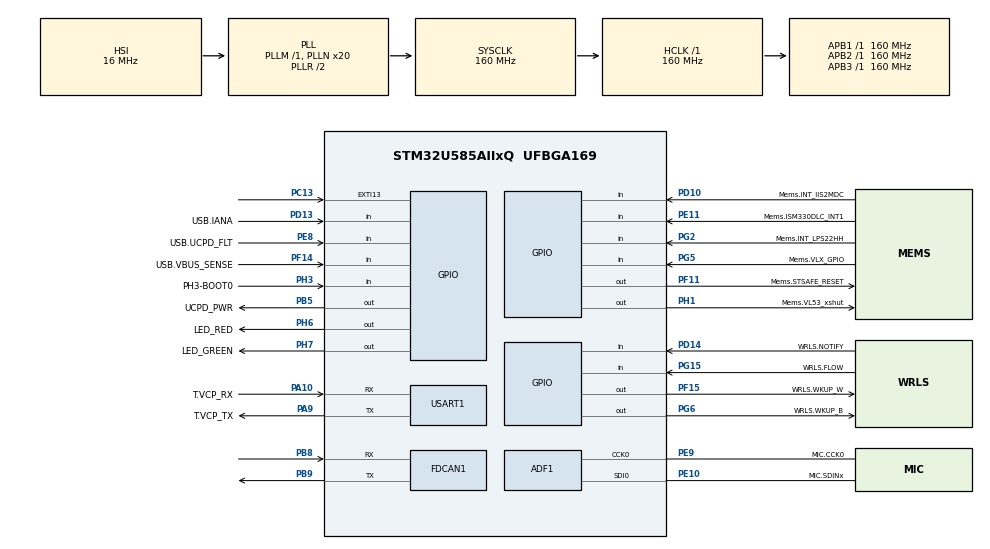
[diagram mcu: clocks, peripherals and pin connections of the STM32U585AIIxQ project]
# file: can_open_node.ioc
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CORTEX_M33_NS.userName=CORTEX_M33
FDCAN1.CalculateBaudRateNominal=1000000
FDCAN1.CalculateTimeBitNominal=1000
FDCAN1.CalculateTimeQuantumNominal=50.0
FDCAN1.DataPrescaler=4
FDCAN1.DataTimeSeg1=15
FDCAN1.DataTimeSeg2=4
FDCAN1.Mode=FDCAN_MODE_NORMAL
FDCAN1.NominalPrescaler=8
FDCAN1.NominalSyncJumpWidth=1
FDCAN1.NominalTimeSeg1=15
FDCAN1.NominalTimeSeg2=4
Mcu.Family=STM32U5
Mcu.Name=STM32U585AIIxQ
Mcu.Package=UFBGA169
NVIC.EXTI13_IRQn=true\:0\:0\:false\:false\:true\:true\:true\:true
NVIC.FDCAN1_IT0_IRQn=true\:0\:0\:false\:false\:true\:true\:true\:true
NVIC.FDCAN1_IT1_IRQn=true\:0\:0\:false\:false\:true\:true\:true\:true
NVIC.PriorityGroup=NVIC_PRIORITYGROUP_4
NVIC.TIM2_IRQn=true\:0\:0\:false\:false\:true\:true\:true\:true
PA10.GPIO_Label=T.VCP_RX
PA10.Mode=Asynchronous
PA10.Signal=USART1_RX
PA11.GPIO_Label=USB.C_P
PA11.Signal=USB_OTG_FS_DM
PA12.GPIO_Label=USB.C_P
PA12.Signal=USB_OTG_FS_DP
PA13\ (JTMS/SWDIO).GPIO_Label=T.SWDIO
PA13\ (JTMS/SWDIO).Mode=Trace_Asynchronous_SW
PA13\ (JTMS/SWDIO).Signal=DEBUG_JTMS-SWDIO
PA14\ (JTCK/SWCLK).GPIO_Label=T.SWCLK
PA14\ (JTCK/SWCLK).Mode=Trace_Asynchronous_SW
PA14\ (JTCK/SWCLK).Signal=DEBUG_JTCK-SWCLK
PA15\ (JTDI).GPIO_Label=USB.UCPD_CC1
PA15\ (JTDI).Signal=UCPD1_CC1
PA9.GPIO_Label=T.VCP_TX
PA9.Mode=Asynchronous
PA9.Signal=USART1_TX
PB1.GPIO_Label=MIC.SDIN0
PB1.Signal=MDF1_SDI0
PB10.GPIO_Label=OCTOSPI.R_CLK_P
PB10.Signal=OCTOSPIM_P1_CLK
PB11.GPIO_Label=OCTOSPI.R_NCS
PB11.Signal=OCTOSPIM_P1_NCS
PB12.GPIO_Label=WRLS.SPI2_NSS
PB12.Signal=SPI2_NSS
PB15.GPIO_Label=USB.UCPD_CC2
PB15.Signal=UCPD1_CC2
PB3\ (JTDO/TRACESWO).GPIO_Label=T.SWO
PB3\ (JTDO/TRACESWO).Mode=Trace_Asynchronous_SW
PB3\ (JTDO/TRACESWO).Signal=DEBUG_JTDO-SWO
PB5.GPIO_Label=UCPD_PWR
PB5.Signal=GPIO_Output
PB8.Mode=FDCAN_Activate
PB8.Signal=FDCAN1_RX
PB9.Mode=FDCAN_Activate
PB9.Signal=FDCAN1_TX
PC10.GPIO_Label=WRLS.UART4_TX
PC10.Signal=UART4_TX
PC11.GPIO_Label=WRLS.UART4_RX
PC11.Signal=UART4_RX
PC13.GPIO_ModeDefaultEXTI=GPIO_MODE_IT_FALLING
PC13.Signal=GPXTI13
PC14-OSC32_IN\ (PC14).GPIO_Label=PC14-OSC32_IN
PC14-OSC32_IN\ (PC14).Mode=LSE-External-Oscillator
PC14-OSC32_IN\ (PC14).Signal=RCC_OSC32_IN
PC15-OSC32_OUT\ (PC15).GPIO_Label=PC15-OSC32_OUT
PC15-OSC32_OUT\ (PC15).Mode=LSE-External-Oscillator
PC15-OSC32_OUT\ (PC15).Signal=RCC_OSC32_OUT
PC3.GPIO_Label=OCTOSPI.R_IO6
PC3.Signal=OCTOSPIM_P1_IO6
PD1.GPIO_Label=WRLS.SPI2_SCK
PD1.Signal=SPI2_SCK
PD10.GPIO_Label=Mems.INT_IIS2MDC
PD10.Signal=GPIO_Input
PD13.GPIO_Label=USB.IANA
PD13.Signal=GPIO_Input
PD14.GPIO_Label=WRLS.NOTIFY
PD14.Signal=GPIO_Input
PD3.GPIO_Label=WRLS.SPI2_MISO
PD3.Signal=SPI2_MISO
PD4.GPIO_Label=WRLS.SPI2_MOSI
PD4.Signal=SPI2_MOSI
PD7.GPIO_Label=OCTOSPI.R_IO7
PD7.Signal=OCTOSPIM_P1_IO7
PE10.GPIO_Label=MIC.SDINx
PE10.Mode=MOD_ADF_CCK
PE10.Signal=ADF1_SDI0
PE11.GPIO_Label=Mems.ISM330DLC_INT1
PE11.Signal=GPIO_Input
PE3.GPIO_Label=OCTOSPI.R_DQS
PE3.Signal=OCTOSPIM_P1_DQS
PE8.GPIO_Label=USB.UCPD_FLT
PE8.Signal=GPIO_Input
PE9.GPIO_Label=MIC.CCK0
PE9.Mode=MOD_MDF_CCK0
PE9.Signal=ADF1_CCK0
PF0.GPIO_Label=OCTOSPI.F_IO0
PF0.Signal=OCTOSPIM_P2_IO0
PF1.GPIO_Label=OCTOSPI.F_IO1
PF1.Signal=OCTOSPIM_P2_IO1
PF10.GPIO_Label=MIC.CCK1
PF10.Signal=MDF1_CCK1
PF11.GPIO_Label=Mems.STSAFE_RESET
PF11.Signal=GPIO_Output
PF12.GPIO_Label=OCTOSPI.F_DQS
PF12.Signal=OCTOSPIM_P2_DQS
PF14.GPIO_Label=USB.VBUS_SENSE
PF14.Signal=GPIO_Input
PF15.GPIO_Label=WRLS.WKUP_W
PF15.Signal=GPIO_Output
PF2.GPIO_Label=OCTOSPI.F_IO2
PF2.Signal=OCTOSPIM_P2_IO2
PF3.GPIO_Label=OCTOSPI.F_IO3
PF3.Signal=OCTOSPIM_P2_IO3
PF4.GPIO_Label=OCTOSPI.F_CLK_P
PF4.Signal=OCTOSPIM_P2_CLK
PF6.GPIO_Label=OCTOSPI.R_IO3
PF6.Signal=OCTOSPIM_P1_IO3
PF7.GPIO_Label=OCTOSPI.R_IO2
PF7.Signal=OCTOSPIM_P1_IO2
PF8.GPIO_Label=OCTOSPI.R_IO0
PF8.Signal=OCTOSPIM_P1_IO0
PF9.GPIO_Label=OCTOSPI.R_IO1
PF9.Signal=OCTOSPIM_P1_IO1
PG15.GPIO_Label=WRLS.FLOW
PG15.Signal=GPIO_Input
PG2.GPIO_Label=Mems.INT_LPS22HH
PG2.Signal=GPIO_Input
PG5.GPIO_Label=Mems.VLX_GPIO
PG5.Signal=GPIO_Input
PG6.GPIO_Label=WRLS.WKUP_B
PG6.Signal=GPIO_Output
PH1-OSC_OUT\ (PH1).GPIO_Label=Mems.VL53_xshut
PH1-OSC_OUT\ (PH1).Signal=GPIO_Output
PH10.GPIO_Label=OCTOSPI.F_IO5
PH10.Signal=OCTOSPIM_P2_IO5
PH11.GPIO_Label=OCTOSPI.F_IO6
PH11.Signal=OCTOSPIM_P2_IO6
PH12.GPIO_Label=OCTOSPI.F_IO7
PH12.Signal=OCTOSPIM_P2_IO7
PH2.GPIO_Label=OCTOSPI.R_IO4
PH2.Signal=OCTOSPIM_P1_IO4
PH3-BOOT0.GPIO_Label=PH3-BOOT0
PH3-BOOT0.Signal=GPIO_Input
PH4.Signal=I2C2_SCL
PH5.Signal=I2C2_SDA
PH6.GPIO_Label=LED_RED
PH6.Signal=GPIO_Output
PH7.GPIO_Label=LED_GREEN
PH7.Signal=GPIO_Output
PH9.GPIO_Label=OCTOSPI.F_IO4
PH9.Signal=OCTOSPIM_P2_IO4
PI0.GPIO_Label=OCTOSPI.R_IO5
PI0.Signal=OCTOSPIM_P1_IO5
PI5.GPIO_Label=OCTOSPI.F_NCS
PI5.Signal=OCTOSPIM_P2_NCS
PWR.PowerMode=PWR_SMPS_SUPPLY
ProjectManager.HeapSize=0x200
ProjectManager.StackSize=0x400
ProjectManager.TargetToolchain=STM32CubeIDE
RCC.ADCFreq_Value=16000000
RCC.AHBFreq_Value=160000000
RCC.APB1Freq_Value=160000000
RCC.APB1TimFreq_Value=160000000
RCC.APB2Freq_Value=160000000
RCC.APB2TimFreq_Value=160000000
RCC.APB3Freq_Value=160000000
RCC.CortexFreq_Value=160000000
RCC.DACCLockSelectionVirtual=RCC_DAC1CLKSOURCE_LSI
RCC.EPOD_VALUE=4000000
RCC.HCLKFreq_Value=160000000
RCC.HSE_VALUE=16000000
RCC.HSI48_VALUE=48000000
RCC.HSI_VALUE=16000000
RCC.LSIDIV_VALUE=32000
RCC.MSI_VALUE=4000000
RCC.PLLN=80
RCC.SYSCLKFreq_VALUE=160000000
RCC.SYSCLKSource=RCC_SYSCLKSOURCE_PLLCLK
RCC.USBFreq_Value=48000000
RCC.VCOOutputFreq_Value=320000000
TIM2.PeriodNoDither=9
TIM2.Prescaler=15999
USART1.VirtualMode-Asynchronous=VM_ASYNC
VP_ICACHE_VS_ICACHE.Mode=DirectMappedCache
VP_LPBAMQUEUE_VS_QUEUE.Mode=QUEUEMODE
VP_LPBAM_VS_SIG1.Mode=SmartRun
VP_LPBAM_VS_SIG4.Mode=LPDMA1
VP_MEMORYMAP_VS_MEMORYMAP.Mode=CurAppReg
VP_PWR_VS_DBSignals.Mode=DisableDeadBatterySignals
VP_PWR_VS_LPOM.Mode=PowerOptimisation
VP_PWR_VS_SECSignals.Mode=Security/Privilege
VP_TIM2_VS_ClockSourceINT.Mode=Internal
board=B-U585I-IOT02A

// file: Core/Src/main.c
/* USER CODE BEGIN Header */
/**
  ******************************************************************************
  * @file           : main.c
  * @brief          : Main program body
  ******************************************************************************
  * @attention
  *
  * Copyright (c) 2026 STMicroelectronics.
  * All rights reserved.
  *
  * This software is licensed under terms that can be found in the LICENSE file
  * in the root directory of this software component.
  * If no LICENSE file comes with this software, it is provided AS-IS.
  *
  ******************************************************************************
  */
/* USER CODE END Header */
#include "main.h"

/* USER CODE BEGIN Includes */
#include <stdio.h>
#include "301/CO_ODinterface.h"
#include "301/CO_SDOclient.h"
#include "OD.h"
#include "CO_app_STM32.h"
#include "CANopen.h"
/* USER CODE END Includes */

/* USER CODE BEGIN PD */

#define CAN_BUFFER_LEN          (8)
#define CONTROLLER_NODE_ID 0x01
/* USER CODE END PD */

MDF_HandleTypeDef AdfHandle0;
MDF_FilterConfigTypeDef AdfFilterConfig0;

FDCAN_HandleTypeDef hfdcan1;

TIM_HandleTypeDef htim2;

UART_HandleTypeDef huart1;

/* USER CODE BEGIN PV */

extern CO_t *CO;

static FDCAN_FilterTypeDef   sFilterConfig;

uint8_t gSdoData[CAN_BUFFER_LEN];

/* USER CODE END PV */

void SystemClock_Config(void);
static void SystemPower_Config(void);
static void MX_GPIO_Init(void);
static void MX_ADF1_Init(void);
static void MX_FDCAN1_Init(void);
static void MX_ICACHE_Init(void);
static void MX_USART1_UART_Init(void);
static void MX_TIM2_Init(void);

/* USER CODE BEGIN 0 */

CO_SDO_abortCode_t
read_SDO(CO_SDOclient_t* SDO_C, uint8_t nodeId, uint16_t index, uint8_t subIndex, uint8_t* buf, size_t bufSize,
         size_t* readSize) {
    CO_SDO_return_t SDO_ret;

    // setup client (this can be skipped, if remote device don't change)
    SDO_ret = CO_SDOclient_setup(SDO_C, CO_CAN_ID_SDO_CLI + nodeId, CO_CAN_ID_SDO_SRV + nodeId, nodeId);
    if (SDO_ret != CO_SDO_RT_ok_communicationEnd) {
        return CO_SDO_AB_GENERAL;
    }

    // initiate upload
    SDO_ret = CO_SDOclientUploadInitiate(SDO_C, index, subIndex, 1000, false);
    if (SDO_ret != CO_SDO_RT_ok_communicationEnd) {
        return CO_SDO_AB_GENERAL;
    }

    // upload data
    do {
        uint32_t timeDifference_us = 10000;
        CO_SDO_abortCode_t abortCode = CO_SDO_AB_NONE;

        SDO_ret = CO_SDOclientUpload(SDO_C, timeDifference_us, false, &abortCode, NULL, NULL, NULL);
        if (SDO_ret < 0) {
            return abortCode;
        }

        //sleep_us(timeDifference_us);
        HAL_Delay(timeDifference_us/1000);
    } while (SDO_ret > 0);

    // copy data to the user buffer (for long data function must be called several times inside the loop)
    *readSize = CO_SDOclientUploadBufRead(SDO_C, buf, bufSize);

    return CO_SDO_AB_NONE;
}

CO_SDO_abortCode_t
write_SDO(CO_SDOclient_t* SDO_C, uint8_t nodeId, uint16_t index, uint8_t subIndex, uint8_t* data, size_t dataSize) {
    CO_SDO_return_t SDO_ret;
    bool_t bufferPartial = false;

    // setup client (this can be skipped, if remote device is the same)
    SDO_ret = CO_SDOclient_setup(SDO_C, CO_CAN_ID_SDO_CLI + nodeId, CO_CAN_ID_SDO_SRV + nodeId, nodeId);
    if (SDO_ret != CO_SDO_RT_ok_communicationEnd) {
        return -1;
    }

    // initiate download
    SDO_ret = CO_SDOclientDownloadInitiate(SDO_C, index, subIndex, dataSize, 1000, false);
    if (SDO_ret != CO_SDO_RT_ok_communicationEnd) {
        return -1;
    }

    // fill data
    size_t nWritten = CO_SDOclientDownloadBufWrite(SDO_C, data, dataSize);
    if (nWritten < dataSize) {
        bufferPartial = true;
        // If SDO Fifo buffer is too small, data can be refilled in the loop.
    }

    // download data
    do {
        uint32_t timeDifference_us = 10000;
        CO_SDO_abortCode_t abortCode = CO_SDO_AB_NONE;

        SDO_ret = CO_SDOclientDownload(SDO_C, timeDifference_us, false, bufferPartial, &abortCode, NULL, NULL);
        if (SDO_ret < 0) {
            return abortCode;
        }

        //sleep_us(timeDifference_us);
        HAL_Delay(timeDifference_us/1000);
    } while (SDO_ret > 0);

    return CO_SDO_AB_NONE;
}

int __io_putchar(int ch)
{
    /* Support printf over UART */
    (void)HAL_UART_Transmit(&huart1, (uint8_t*)&ch, 1, 0xFFFFU);
    return ch;
}

void HAL_TIM_PeriodElapsedCallback(TIM_HandleTypeDef* htim) {
    if (htim == canopenNodeSTM32->timerHandle) {
        canopen_app_interrupt();
    }
}

void my_fdcan1_transmit()
{
	FDCAN_TxHeaderTypeDef TxHeader;
	uint8_t TxData[] = {'C', 'A', 'N', 'I','S','F','U','N'}; // Example data

	// 1. Configure the TX Header
	TxHeader.Identifier = 0x111U;                // CAN ID
	TxHeader.IdType = FDCAN_STANDARD_ID; //standard or extended
	TxHeader.TxFrameType = FDCAN_DATA_FRAME; //data frame or request frame
	//TODO: Data length
	TxHeader.DataLength = FDCAN_DLC_BYTES_8;    // Length 4 bytes
	TxHeader.ErrorStateIndicator = FDCAN_ESI_ACTIVE;
	TxHeader.BitRateSwitch = FDCAN_BRS_OFF;     // No BRS for classic CAN
	TxHeader.FDFormat = FDCAN_CLASSIC_CAN;      // Classic or FD format
	TxHeader.TxEventFifoControl = FDCAN_NO_TX_EVENTS;
	TxHeader.MessageMarker = 0;

	// 2. Transmit the message
	if (HAL_FDCAN_AddMessageToTxFifoQ(&hfdcan1, &TxHeader, TxData) != HAL_OK)
	{
		printf("Stm32u585 Error calling HAL_FDCAN_AddMessageToTxFifoQ\r\n");
	  // Transmission error
	  Error_Handler();
	}
	// No need to poll, tx complete callback will be called in case of interrupts
//	while(HAL_FDCAN_IsTxBufferMessagePending(&hfdcan1, FDCAN_TX_BUFFER0 | FDCAN_TX_BUFFER1 | FDCAN_TX_BUFFER2) != 0);
//	printf("Stm32u585 Transmitted %lu bytes\r\n",TxHeader.DataLength);

}

void my_fdcan1_receive()
{
	FDCAN_RxHeaderTypeDef RxHeader;
	uint8_t RxData[16];

	/* check if FIFO 0 receive at least one message */
	while (HAL_FDCAN_GetRxFifoFillLevel(&hfdcan1, FDCAN_RX_FIFO0) < 1U);

	if(HAL_FDCAN_GetRxMessage(&hfdcan1, FDCAN_RX_FIFO0, &RxHeader, RxData) != HAL_OK)
	{
		printf("Stm32u585 Error calling HAL_FDCAN_GetRxMessage\r\n");
		Error_Handler();
	}
	else
	{
		printf("Message Received HAL_FDCAN_GetRxMessage\r\n");
		for(int i = 0; i < 8; ++i)
		{
			printf("RxData[%d] = %c\r\n",i,RxData[i]);
		}
	}
}

void my_config_filter()
{
	/* Configure Rx filter */
	sFilterConfig.IdType       = FDCAN_STANDARD_ID;
	sFilterConfig.FilterIndex  = 0U;
	sFilterConfig.FilterType   = FDCAN_FILTER_MASK;
	sFilterConfig.FilterConfig = FDCAN_FILTER_TO_RXFIFO0;
	sFilterConfig.FilterID1    = 0x111U;
	sFilterConfig.FilterID2    = 0x7FFU;
	if (HAL_FDCAN_ConfigFilter(&hfdcan1, &sFilterConfig) != HAL_OK) {
		printf("Stm32u585 Error calling HAL_FDCAN_ConfigFilter\r\n");
		Error_Handler();
	}
}

void HAL_GPIO_EXTI_Falling_Callback(uint16_t GPIO_Pin)
{
	printf("Stm32u585 User Button pressed\r\n");
	my_fdcan1_transmit();
}

void HAL_FDCAN_TxEventFifoCallback(FDCAN_HandleTypeDef *hfdcan, uint32_t TxEventFifoITs)
{
}

//void HAL_FDCAN_RxFifo0Callback(FDCAN_HandleTypeDef *hfdcan, uint32_t RxFifo0ITs)
//{
//	printf("Stm32u585 Transmitted HAL_FDCAN_RxFifo0Callback\r\n");
//	FDCAN_RxHeaderTypeDef RxHeader;
//	uint8_t RxData[16];
//
//	/* No need to poll */
//	//while (HAL_FDCAN_GetRxFifoFillLevel(&hfdcan1, FDCAN_RX_FIFO0) < 1U);
//
//	if(HAL_FDCAN_GetRxMessage(&hfdcan1, FDCAN_RX_FIFO0, &RxHeader, RxData) != HAL_OK)
//	{
//		printf("Stm32u585 Error calling HAL_FDCAN_GetRxMessage in ISR\r\n");
//		Error_Handler();
//	}
//	else
//	{
//		printf("Message Received HAL_FDCAN_GetRxMessage in ISR\r\n");
//		printf("Message:");
//		for(int i = 0; i < 8; ++i)
//		{
//			printf("%c",RxData[i]);
//		}
//		printf("\r\n");
//	}
//}

//void HAL_FDCAN_RxFifo1Callback(FDCAN_HandleTypeDef *hfdcan, uint32_t RxFifo1ITs)
//{
//	printf("Stm32u585 Transmitted HAL_FDCAN_RxFifo1Callback\r\n");
//}

void HAL_FDCAN_TxFifoEmptyCallback(FDCAN_HandleTypeDef *hfdcan)
{
}

//void HAL_FDCAN_TxBufferCompleteCallback(FDCAN_HandleTypeDef *hfdcan, uint32_t BufferIndexes)
//{
//	//printf("Stm32u585 Transmitted HAL_FDCAN_TxBufferCompleteCallback\r\n");
//}

void HAL_FDCAN_TxBufferAbortCallback(FDCAN_HandleTypeDef *hfdcan, uint32_t BufferIndexes)
{
}
/* USER CODE END 0 */

int main(void)
{

  /* MCU Configuration--------------------------------------------------------*/

  /* Reset of all peripherals, Initializes the Flash interface and the Systick. */
  HAL_Init();

  /* Configure the System Power */
  SystemPower_Config();

  /* Configure the system clock */
  SystemClock_Config();

  /* Initialize all configured peripherals */
  MX_GPIO_Init();
  MX_ADF1_Init();
  MX_FDCAN1_Init();
  MX_ICACHE_Init();
  MX_USART1_UART_Init();
  MX_TIM2_Init();

  /* Infinite loop */
  /* USER CODE BEGIN WHILE */

  /* Configure Config filter for Rx*/
  // my_config_filter();

  /* Activate FDCAN interrupts */
//  if (HAL_FDCAN_ActivateNotification(&hfdcan1, FDCAN_IT_RX_FIFO0_NEW_MESSAGE | FDCAN_IT_TX_COMPLETE, FDCAN_TX_BUFFER0 | FDCAN_TX_BUFFER1 | FDCAN_TX_BUFFER2) != HAL_OK)
//  {
//    Error_Handler();
//  }
  /* Start the FDCANx module */
//  if (HAL_FDCAN_Start(&hfdcan1) != HAL_OK)
//  {
//	  printf("Stm32u585 Error calling HAL_FDCAN_Start\r\n");
//	  Error_Handler();
//  }
  printf("Stm32u585 testing\r\n");
  CANopenNodeSTM32 canOpenNodeSTM32;
  canOpenNodeSTM32.CANHandle = &hfdcan1;
  canOpenNodeSTM32.HWInitFunction = MX_FDCAN1_Init;
  canOpenNodeSTM32.timerHandle = &htim2;
  canOpenNodeSTM32.desiredNodeID = CONTROLLER_NODE_ID;
  canOpenNodeSTM32.baudrate = 125;  // in kb/s
  canopen_app_init(&canOpenNodeSTM32); // CO initialised in here!
  // my_fdcan1_transmit();

  // my_fdcan1_receive();
  uint8_t tmp = 0x20;
  size_t readBytes;
  write_SDO(canOpenNodeSTM32.canOpenStack->SDOclient, 0x10, 0x6000, 0, &tmp, 1 );
  read_SDO(canOpenNodeSTM32.canOpenStack->SDOclient, 0x10, 0x1000, 0, &gSdoData[0], 4, &readBytes );

  while (1)
  {
	  HAL_GPIO_WritePin(GPIOH, LED_RED_Pin, !canOpenNodeSTM32.outStatusLEDRed);
	  HAL_GPIO_WritePin(GPIOH, LED_GREEN_Pin, !canOpenNodeSTM32.outStatusLEDGreen);
	  canopen_app_process();

	  OD_PERSIST_COMM.x6000_velocity++;
	  //printf("Stm32u585 testing canOpenNodeSTM32.activeNodeID = %d\r\n",canOpenNodeSTM32.activeNodeID);
	  //OD_set_u32(OD_find(OD, 0x6001),0x00, 543, false);
	  //CO_TPDOsendRequest(&canOpenNodeSTM32.canOpenStack->TPDO[0]);
	  HAL_Delay(10);
    /* USER CODE END WHILE */

  }
}

void SystemClock_Config(void)
{
  RCC_OscInitTypeDef RCC_OscInitStruct = {0};
  RCC_ClkInitTypeDef RCC_ClkInitStruct = {0};

  /** Configure the main internal regulator output voltage
  */
  if (HAL_PWREx_ControlVoltageScaling(PWR_REGULATOR_VOLTAGE_SCALE1) != HAL_OK)
  {
    Error_Handler();
  }

  /** Initializes the CPU, AHB and APB buses clocks
  */
  RCC_OscInitStruct.OscillatorType = RCC_OSCILLATORTYPE_HSI;
  RCC_OscInitStruct.HSIState = RCC_HSI_ON;
  RCC_OscInitStruct.HSICalibrationValue = RCC_HSICALIBRATION_DEFAULT;
  RCC_OscInitStruct.PLL.PLLState = RCC_PLL_ON;
  RCC_OscInitStruct.PLL.PLLSource = RCC_PLLSOURCE_HSI;
  RCC_OscInitStruct.PLL.PLLMBOOST = RCC_PLLMBOOST_DIV1;
  RCC_OscInitStruct.PLL.PLLM = 1;
  RCC_OscInitStruct.PLL.PLLN = 20;
  RCC_OscInitStruct.PLL.PLLP = 2;
  RCC_OscInitStruct.PLL.PLLQ = 2;
  RCC_OscInitStruct.PLL.PLLR = 2;
  RCC_OscInitStruct.PLL.PLLRGE = RCC_PLLVCIRANGE_1;
  RCC_OscInitStruct.PLL.PLLFRACN = 0;
  if (HAL_RCC_OscConfig(&RCC_OscInitStruct) != HAL_OK)
  {
    Error_Handler();
  }

  /** Initializes the CPU, AHB and APB buses clocks
  */
  RCC_ClkInitStruct.ClockType = RCC_CLOCKTYPE_HCLK|RCC_CLOCKTYPE_SYSCLK
                              |RCC_CLOCKTYPE_PCLK1|RCC_CLOCKTYPE_PCLK2
                              |RCC_CLOCKTYPE_PCLK3;
  RCC_ClkInitStruct.SYSCLKSource = RCC_SYSCLKSOURCE_PLLCLK;
  RCC_ClkInitStruct.AHBCLKDivider = RCC_SYSCLK_DIV1;
  RCC_ClkInitStruct.APB1CLKDivider = RCC_HCLK_DIV1;
  RCC_ClkInitStruct.APB2CLKDivider = RCC_HCLK_DIV1;
  RCC_ClkInitStruct.APB3CLKDivider = RCC_HCLK_DIV1;

  if (HAL_RCC_ClockConfig(&RCC_ClkInitStruct, FLASH_LATENCY_4) != HAL_OK)
  {
    Error_Handler();
  }
}

/**
  * @brief Power Configuration
  * @retval None
  */
static void SystemPower_Config(void)
{
  HAL_PWREx_EnableVddIO2();

  /*
   * Disable the internal Pull-Up in Dead Battery pins of UCPD peripheral
   */
  HAL_PWREx_DisableUCPDDeadBattery();

  /*
   * Switch to SMPS regulator instead of LDO
   */
  if (HAL_PWREx_ConfigSupply(PWR_SMPS_SUPPLY) != HAL_OK)
  {
    Error_Handler();
  }
}

static void MX_ADF1_Init(void)
{

  /**
    AdfHandle0 structure initialization and HAL_MDF_Init function call
  */
  AdfHandle0.Instance = ADF1_Filter0;
  AdfHandle0.Init.CommonParam.ProcClockDivider = 1;
  AdfHandle0.Init.CommonParam.OutputClock.Activation = DISABLE;
  AdfHandle0.Init.SerialInterface.Activation = ENABLE;
  AdfHandle0.Init.SerialInterface.Mode = MDF_SITF_LF_MASTER_SPI_MODE;
  AdfHandle0.Init.SerialInterface.ClockSource = MDF_SITF_CCK0_SOURCE;
  AdfHandle0.Init.SerialInterface.Threshold = 4;
  AdfHandle0.Init.FilterBistream = MDF_BITSTREAM0_FALLING;
  if (HAL_MDF_Init(&AdfHandle0) != HAL_OK)
  {
    Error_Handler();
  }

  /**
    AdfFilterConfig0 structure initialization

    WARNING : only structure is filled, no specific init function call for filter
  */
  AdfFilterConfig0.DataSource = MDF_DATA_SOURCE_BSMX;
  AdfFilterConfig0.Delay = 0;
  AdfFilterConfig0.CicMode = MDF_ONE_FILTER_SINC4;
  AdfFilterConfig0.DecimationRatio = 2;
  AdfFilterConfig0.Gain = 0;
  AdfFilterConfig0.ReshapeFilter.Activation = DISABLE;
  AdfFilterConfig0.HighPassFilter.Activation = DISABLE;
  AdfFilterConfig0.SoundActivity.Activation = DISABLE;
  AdfFilterConfig0.AcquisitionMode = MDF_MODE_ASYNC_CONT;
  AdfFilterConfig0.FifoThreshold = MDF_FIFO_THRESHOLD_NOT_EMPTY;
  AdfFilterConfig0.DiscardSamples = 0;

}

static void MX_FDCAN1_Init(void)
{

  hfdcan1.Instance = FDCAN1;
  hfdcan1.Init.ClockDivider = FDCAN_CLOCK_DIV1;
  hfdcan1.Init.FrameFormat = FDCAN_FRAME_CLASSIC;
  hfdcan1.Init.Mode = FDCAN_MODE_NORMAL;
  hfdcan1.Init.AutoRetransmission = DISABLE;
  hfdcan1.Init.TransmitPause = DISABLE;
  hfdcan1.Init.ProtocolException = DISABLE;
  hfdcan1.Init.NominalPrescaler = 80;
  hfdcan1.Init.NominalSyncJumpWidth = 1;
  hfdcan1.Init.NominalTimeSeg1 = 13;
  hfdcan1.Init.NominalTimeSeg2 = 2;
  hfdcan1.Init.DataPrescaler = 4;
  hfdcan1.Init.DataSyncJumpWidth = 1;
  hfdcan1.Init.DataTimeSeg1 = 15;
  hfdcan1.Init.DataTimeSeg2 = 4;
  hfdcan1.Init.StdFiltersNbr = 0;
  hfdcan1.Init.ExtFiltersNbr = 0;
  hfdcan1.Init.TxFifoQueueMode = FDCAN_TX_FIFO_OPERATION;
  if (HAL_FDCAN_Init(&hfdcan1) != HAL_OK)
  {
    Error_Handler();
  }

}

static void MX_ICACHE_Init(void)
{

  /** Enable instruction cache in 1-way (direct mapped cache)
  */
  if (HAL_ICACHE_ConfigAssociativityMode(ICACHE_1WAY) != HAL_OK)
  {
    Error_Handler();
  }
  if (HAL_ICACHE_Enable() != HAL_OK)
  {
    Error_Handler();
  }

}

static void MX_TIM2_Init(void)
{

  TIM_ClockConfigTypeDef sClockSourceConfig = {0};
  TIM_MasterConfigTypeDef sMasterConfig = {0};

  htim2.Instance = TIM2;
  htim2.Init.Prescaler = 15999;
  htim2.Init.CounterMode = TIM_COUNTERMODE_UP;
  htim2.Init.Period = 9;
  htim2.Init.ClockDivision = TIM_CLOCKDIVISION_DIV1;
  htim2.Init.AutoReloadPreload = TIM_AUTORELOAD_PRELOAD_DISABLE;
  if (HAL_TIM_Base_Init(&htim2) != HAL_OK)
  {
    Error_Handler();
  }
  sClockSourceConfig.ClockSource = TIM_CLOCKSOURCE_INTERNAL;
  if (HAL_TIM_ConfigClockSource(&htim2, &sClockSourceConfig) != HAL_OK)
  {
    Error_Handler();
  }
  sMasterConfig.MasterOutputTrigger = TIM_TRGO_RESET;
  sMasterConfig.MasterSlaveMode = TIM_MASTERSLAVEMODE_DISABLE;
  if (HAL_TIMEx_MasterConfigSynchronization(&htim2, &sMasterConfig) != HAL_OK)
  {
    Error_Handler();
  }

}

static void MX_USART1_UART_Init(void)
{

  huart1.Instance = USART1;
  huart1.Init.BaudRate = 115200;
  huart1.Init.WordLength = UART_WORDLENGTH_8B;
  huart1.Init.StopBits = UART_STOPBITS_1;
  huart1.Init.Parity = UART_PARITY_NONE;
  huart1.Init.Mode = UART_MODE_TX_RX;
  huart1.Init.HwFlowCtl = UART_HWCONTROL_NONE;
  huart1.Init.OverSampling = UART_OVERSAMPLING_16;
  huart1.Init.OneBitSampling = UART_ONE_BIT_SAMPLE_DISABLE;
  huart1.Init.ClockPrescaler = UART_PRESCALER_DIV1;
  huart1.AdvancedInit.AdvFeatureInit = UART_ADVFEATURE_NO_INIT;
  if (HAL_UART_Init(&huart1) != HAL_OK)
  {
    Error_Handler();
  }
  if (HAL_UARTEx_SetTxFifoThreshold(&huart1, UART_TXFIFO_THRESHOLD_1_8) != HAL_OK)
  {
    Error_Handler();
  }
  if (HAL_UARTEx_SetRxFifoThreshold(&huart1, UART_RXFIFO_THRESHOLD_1_8) != HAL_OK)
  {
    Error_Handler();
  }
  if (HAL_UARTEx_DisableFifoMode(&huart1) != HAL_OK)
  {
    Error_Handler();
  }

}

static void MX_GPIO_Init(void)
{
  GPIO_InitTypeDef GPIO_InitStruct = {0};

  /* GPIO Ports Clock Enable */
  __HAL_RCC_GPIOG_CLK_ENABLE();
  __HAL_RCC_GPIOC_CLK_ENABLE();
  __HAL_RCC_GPIOA_CLK_ENABLE();
  __HAL_RCC_GPIOI_CLK_ENABLE();
  __HAL_RCC_GPIOH_CLK_ENABLE();
  __HAL_RCC_GPIOB_CLK_ENABLE();
  __HAL_RCC_GPIOD_CLK_ENABLE();
  __HAL_RCC_GPIOE_CLK_ENABLE();
  __HAL_RCC_GPIOF_CLK_ENABLE();

  /*Configure GPIO pin Output Level */
  HAL_GPIO_WritePin(UCPD_PWR_GPIO_Port, UCPD_PWR_Pin, GPIO_PIN_RESET);

  /*Configure GPIO pin Output Level */
  HAL_GPIO_WritePin(GPIOH, LED_RED_Pin|LED_GREEN_Pin|Mems_VL53_xshut_Pin, GPIO_PIN_RESET);

  /*Configure GPIO pin Output Level */
  HAL_GPIO_WritePin(WRLS_WKUP_B_GPIO_Port, WRLS_WKUP_B_Pin, GPIO_PIN_RESET);

  /*Configure GPIO pin Output Level */
  HAL_GPIO_WritePin(GPIOF, Mems_STSAFE_RESET_Pin|WRLS_WKUP_W_Pin, GPIO_PIN_RESET);

  /*Configure GPIO pins : WRLS_FLOW_Pin Mems_VLX_GPIO_Pin Mems_INT_LPS22HH_Pin */
  GPIO_InitStruct.Pin = WRLS_FLOW_Pin|Mems_VLX_GPIO_Pin|Mems_INT_LPS22HH_Pin;
  GPIO_InitStruct.Mode = GPIO_MODE_INPUT;
  GPIO_InitStruct.Pull = GPIO_NOPULL;
  HAL_GPIO_Init(GPIOG, &GPIO_InitStruct);

  /*Configure GPIO pins : WRLS_UART4_RX_Pin WRLS_UART4_TX_Pin */
  GPIO_InitStruct.Pin = WRLS_UART4_RX_Pin|WRLS_UART4_TX_Pin;
  GPIO_InitStruct.Mode = GPIO_MODE_AF_PP;
  GPIO_InitStruct.Pull = GPIO_NOPULL;
  GPIO_InitStruct.Speed = GPIO_SPEED_FREQ_LOW;
  GPIO_InitStruct.Alternate = GPIO_AF8_UART4;
  HAL_GPIO_Init(GPIOC, &GPIO_InitStruct);

  /*Configure GPIO pin : USB_UCPD_CC1_Pin */
  GPIO_InitStruct.Pin = USB_UCPD_CC1_Pin;
  GPIO_InitStruct.Mode = GPIO_MODE_ANALOG;
  GPIO_InitStruct.Pull = GPIO_NOPULL;
  HAL_GPIO_Init(USB_UCPD_CC1_GPIO_Port, &GPIO_InitStruct);

  /*Configure GPIO pin : OCTOSPI_F_NCS_Pin */
  GPIO_InitStruct.Pin = OCTOSPI_F_NCS_Pin;
  GPIO_InitStruct.Mode = GPIO_MODE_AF_PP;
  GPIO_InitStruct.Pull = GPIO_NOPULL;
  GPIO_InitStruct.Speed = GPIO_SPEED_FREQ_VERY_HIGH;
  GPIO_InitStruct.Alternate = GPIO_AF5_OCTOSPI2;
  HAL_GPIO_Init(OCTOSPI_F_NCS_GPIO_Port, &GPIO_InitStruct);

  /*Configure GPIO pin : OCTOSPI_R_IO5_Pin */
  GPIO_InitStruct.Pin = OCTOSPI_R_IO5_Pin;
  GPIO_InitStruct.Mode = GPIO_MODE_AF_PP;
  GPIO_InitStruct.Pull = GPIO_NOPULL;
  GPIO_InitStruct.Speed = GPIO_SPEED_FREQ_VERY_HIGH;
  GPIO_InitStruct.Alternate = GPIO_AF3_OCTOSPI1;
  HAL_GPIO_Init(OCTOSPI_R_IO5_GPIO_Port, &GPIO_InitStruct);

  /*Configure GPIO pins : OCTOSPI_F_IO7_Pin OCTOSPI_F_IO5_Pin OCTOSPI_F_IO6_Pin OCTOSPI_F_IO4_Pin */
  GPIO_InitStruct.Pin = OCTOSPI_F_IO7_Pin|OCTOSPI_F_IO5_Pin|OCTOSPI_F_IO6_Pin|OCTOSPI_F_IO4_Pin;
  GPIO_InitStruct.Mode = GPIO_MODE_AF_PP;
  GPIO_InitStruct.Pull = GPIO_NOPULL;
  GPIO_InitStruct.Speed = GPIO_SPEED_FREQ_VERY_HIGH;
  GPIO_InitStruct.Alternate = GPIO_AF5_OCTOSPI2;
  HAL_GPIO_Init(GPIOH, &GPIO_InitStruct);

  /*Configure GPIO pin : PH3_BOOT0_Pin */
  GPIO_InitStruct.Pin = PH3_BOOT0_Pin;
  GPIO_InitStruct.Mode = GPIO_MODE_INPUT;
  GPIO_InitStruct.Pull = GPIO_NOPULL;
  HAL_GPIO_Init(PH3_BOOT0_GPIO_Port, &GPIO_InitStruct);

  /*Configure GPIO pin : UCPD_PWR_Pin */
  GPIO_InitStruct.Pin = UCPD_PWR_Pin;
  GPIO_InitStruct.Mode = GPIO_MODE_OUTPUT_PP;
  GPIO_InitStruct.Pull = GPIO_NOPULL;
  GPIO_InitStruct.Speed = GPIO_SPEED_FREQ_LOW;
  HAL_GPIO_Init(UCPD_PWR_GPIO_Port, &GPIO_InitStruct);

  /*Configure GPIO pins : WRLS_SPI2_MOSI_Pin WRLS_SPI2_MISO_Pin WRLS_SPI2_SCK_Pin */
  GPIO_InitStruct.Pin = WRLS_SPI2_MOSI_Pin|WRLS_SPI2_MISO_Pin|WRLS_SPI2_SCK_Pin;
  GPIO_InitStruct.Mode = GPIO_MODE_AF_PP;
  GPIO_InitStruct.Pull = GPIO_NOPULL;
  GPIO_InitStruct.Speed = GPIO_SPEED_FREQ_LOW;
  GPIO_InitStruct.Alternate = GPIO_AF5_SPI2;
  HAL_GPIO_Init(GPIOD, &GPIO_InitStruct);

  /*Configure GPIO pin : OCTOSPI_R_DQS_Pin */
  GPIO_InitStruct.Pin = OCTOSPI_R_DQS_Pin;
  GPIO_InitStruct.Mode = GPIO_MODE_AF_PP;
  GPIO_InitStruct.Pull = GPIO_NOPULL;
  GPIO_InitStruct.Speed = GPIO_SPEED_FREQ_VERY_HIGH;
  GPIO_InitStruct.Alternate = GPIO_AF3_OCTOSPI1;
  HAL_GPIO_Init(OCTOSPI_R_DQS_GPIO_Port, &GPIO_InitStruct);

  /*Configure GPIO pin : OCTOSPI_R_IO7_Pin */
  GPIO_InitStruct.Pin = OCTOSPI_R_IO7_Pin;
  GPIO_InitStruct.Mode = GPIO_MODE_AF_PP;
  GPIO_InitStruct.Pull = GPIO_NOPULL;
  GPIO_InitStruct.Speed = GPIO_SPEED_FREQ_VERY_HIGH;
  GPIO_InitStruct.Alternate = GPIO_AF10_OCTOSPI1;
  HAL_GPIO_Init(OCTOSPI_R_IO7_GPIO_Port, &GPIO_InitStruct);

  /*Configure GPIO pins : OCTOSPI_F_IO0_Pin OCTOSPI_F_IO1_Pin OCTOSPI_F_IO2_Pin OCTOSPI_F_IO3_Pin
                           OCTOSPI_F_CLK_P_Pin OCTOSPI_F_DQS_Pin */
  GPIO_InitStruct.Pin = OCTOSPI_F_IO0_Pin|OCTOSPI_F_IO1_Pin|OCTOSPI_F_IO2_Pin|OCTOSPI_F_IO3_Pin
                          |OCTOSPI_F_CLK_P_Pin|OCTOSPI_F_DQS_Pin;
  GPIO_InitStruct.Mode = GPIO_MODE_AF_PP;
  GPIO_InitStruct.Pull = GPIO_NOPULL;
  GPIO_InitStruct.Speed = GPIO_SPEED_FREQ_VERY_HIGH;
  GPIO_InitStruct.Alternate = GPIO_AF5_OCTOSPI2;
  HAL_GPIO_Init(GPIOF, &GPIO_InitStruct);

  /*Configure GPIO pin : PC13 */
  GPIO_InitStruct.Pin = GPIO_PIN_13;
  GPIO_InitStruct.Mode = GPIO_MODE_IT_FALLING;
  GPIO_InitStruct.Pull = GPIO_NOPULL;
  HAL_GPIO_Init(GPIOC, &GPIO_InitStruct);

  /*Configure GPIO pins : PH4 PH5 */
  GPIO_InitStruct.Pin = GPIO_PIN_4|GPIO_PIN_5;
  GPIO_InitStruct.Mode = GPIO_MODE_AF_OD;
  GPIO_InitStruct.Pull = GPIO_NOPULL;
  GPIO_InitStruct.Speed = GPIO_SPEED_FREQ_LOW;
  GPIO_InitStruct.Alternate = GPIO_AF4_I2C2;
  HAL_GPIO_Init(GPIOH, &GPIO_InitStruct);

  /*Configure GPIO pins : LED_RED_Pin LED_GREEN_Pin Mems_VL53_xshut_Pin */
  GPIO_InitStruct.Pin = LED_RED_Pin|LED_GREEN_Pin|Mems_VL53_xshut_Pin;
  GPIO_InitStruct.Mode = GPIO_MODE_OUTPUT_PP;
  GPIO_InitStruct.Pull = GPIO_NOPULL;
  GPIO_InitStruct.Speed = GPIO_SPEED_FREQ_LOW;
  HAL_GPIO_Init(GPIOH, &GPIO_InitStruct);

  /*Configure GPIO pins : OCTOSPI_R_IO0_Pin OCTOSPI_R_IO2_Pin OCTOSPI_R_IO1_Pin OCTOSPI_R_IO3_Pin */
  GPIO_InitStruct.Pin = OCTOSPI_R_IO0_Pin|OCTOSPI_R_IO2_Pin|OCTOSPI_R_IO1_Pin|OCTOSPI_R_IO3_Pin;
  GPIO_InitStruct.Mode = GPIO_MODE_AF_PP;
  GPIO_InitStruct.Pull = GPIO_NOPULL;
  GPIO_InitStruct.Speed = GPIO_SPEED_FREQ_VERY_HIGH;
  GPIO_InitStruct.Alternate = GPIO_AF10_OCTOSPI1;
  HAL_GPIO_Init(GPIOF, &GPIO_InitStruct);

  /*Configure GPIO pin : OCTOSPI_R_IO4_Pin */
  GPIO_InitStruct.Pin = OCTOSPI_R_IO4_Pin;
  GPIO_InitStruct.Mode = GPIO_MODE_AF_PP;
  GPIO_InitStruct.Pull = GPIO_NOPULL;
  GPIO_InitStruct.Speed = GPIO_SPEED_FREQ_VERY_HIGH;
  GPIO_InitStruct.Alternate = GPIO_AF3_OCTOSPI1;
  HAL_GPIO_Init(OCTOSPI_R_IO4_GPIO_Port, &GPIO_InitStruct);

  /*Configure GPIO pins : USB_C_P_Pin USB_C_PA11_Pin */
  GPIO_InitStruct.Pin = USB_C_P_Pin|USB_C_PA11_Pin;
  GPIO_InitStruct.Mode = GPIO_MODE_AF_PP;
  GPIO_InitStruct.Pull = GPIO_NOPULL;
  GPIO_InitStruct.Speed = GPIO_SPEED_FREQ_LOW;
  GPIO_InitStruct.Alternate = GPIO_AF10_USB;
  HAL_GPIO_Init(GPIOA, &GPIO_InitStruct);

  /*Configure GPIO pin : MIC_CCK1_Pin */
  GPIO_InitStruct.Pin = MIC_CCK1_Pin;
  GPIO_InitStruct.Mode = GPIO_MODE_AF_PP;
  GPIO_InitStruct.Pull = GPIO_NOPULL;
  GPIO_InitStruct.Speed = GPIO_SPEED_FREQ_LOW;
  GPIO_InitStruct.Alternate = GPIO_AF6_MDF1;
  HAL_GPIO_Init(MIC_CCK1_GPIO_Port, &GPIO_InitStruct);

  /*Configure GPIO pin : WRLS_WKUP_B_Pin */
  GPIO_InitStruct.Pin = WRLS_WKUP_B_Pin;
  GPIO_InitStruct.Mode = GPIO_MODE_OUTPUT_PP;
  GPIO_InitStruct.Pull = GPIO_NOPULL;
  GPIO_InitStruct.Speed = GPIO_SPEED_FREQ_LOW;
  HAL_GPIO_Init(WRLS_WKUP_B_GPIO_Port, &GPIO_InitStruct);

  /*Configure GPIO pins : WRLS_NOTIFY_Pin Mems_INT_IIS2MDC_Pin USB_IANA_Pin */
  GPIO_InitStruct.Pin = WRLS_NOTIFY_Pin|Mems_INT_IIS2MDC_Pin|USB_IANA_Pin;
  GPIO_InitStruct.Mode = GPIO_MODE_INPUT;
  GPIO_InitStruct.Pull = GPIO_NOPULL;
  HAL_GPIO_Init(GPIOD, &GPIO_InitStruct);

  /*Configure GPIO pin : OCTOSPI_R_IO6_Pin */
  GPIO_InitStruct.Pin = OCTOSPI_R_IO6_Pin;
  GPIO_InitStruct.Mode = GPIO_MODE_AF_PP;
  GPIO_InitStruct.Pull = GPIO_NOPULL;
  GPIO_InitStruct.Speed = GPIO_SPEED_FREQ_VERY_HIGH;
  GPIO_InitStruct.Alternate = GPIO_AF10_OCTOSPI1;
  HAL_GPIO_Init(OCTOSPI_R_IO6_GPIO_Port, &GPIO_InitStruct);

  /*Configure GPIO pins : USB_UCPD_FLT_Pin Mems_ISM330DLC_INT1_Pin */
  GPIO_InitStruct.Pin = USB_UCPD_FLT_Pin|Mems_ISM330DLC_INT1_Pin;
  GPIO_InitStruct.Mode = GPIO_MODE_INPUT;
  GPIO_InitStruct.Pull = GPIO_NOPULL;
  HAL_GPIO_Init(GPIOE, &GPIO_InitStruct);

  /*Configure GPIO pins : OCTOSPI_R_CLK_P_Pin OCTOSPI_R_NCS_Pin */
  GPIO_InitStruct.Pin = OCTOSPI_R_CLK_P_Pin|OCTOSPI_R_NCS_Pin;
  GPIO_InitStruct.Mode = GPIO_MODE_AF_PP;
  GPIO_InitStruct.Pull = GPIO_NOPULL;
  GPIO_InitStruct.Speed = GPIO_SPEED_FREQ_VERY_HIGH;
  GPIO_InitStruct.Alternate = GPIO_AF10_OCTOSPI1;
  HAL_GPIO_Init(GPIOB, &GPIO_InitStruct);

  /*Configure GPIO pin : USB_VBUS_SENSE_Pin */
  GPIO_InitStruct.Pin = USB_VBUS_SENSE_Pin;
  GPIO_InitStruct.Mode = GPIO_MODE_INPUT;
  GPIO_InitStruct.Pull = GPIO_NOPULL;
  HAL_GPIO_Init(USB_VBUS_SENSE_GPIO_Port, &GPIO_InitStruct);

  /*Configure GPIO pin : WRLS_SPI2_NSS_Pin */
  GPIO_InitStruct.Pin = WRLS_SPI2_NSS_Pin;
  GPIO_InitStruct.Mode = GPIO_MODE_AF_PP;
  GPIO_InitStruct.Pull = GPIO_NOPULL;
  GPIO_InitStruct.Speed = GPIO_SPEED_FREQ_LOW;
  GPIO_InitStruct.Alternate = GPIO_AF5_SPI2;
  HAL_GPIO_Init(WRLS_SPI2_NSS_GPIO_Port, &GPIO_InitStruct);

  /*Configure GPIO pin : USB_UCPD_CC2_Pin */
  GPIO_InitStruct.Pin = USB_UCPD_CC2_Pin;
  GPIO_InitStruct.Mode = GPIO_MODE_ANALOG;
  GPIO_InitStruct.Pull = GPIO_NOPULL;
  HAL_GPIO_Init(USB_UCPD_CC2_GPIO_Port, &GPIO_InitStruct);

  /*Configure GPIO pins : Mems_STSAFE_RESET_Pin WRLS_WKUP_W_Pin */
  GPIO_InitStruct.Pin = Mems_STSAFE_RESET_Pin|WRLS_WKUP_W_Pin;
  GPIO_InitStruct.Mode = GPIO_MODE_OUTPUT_PP;
  GPIO_InitStruct.Pull = GPIO_NOPULL;
  GPIO_InitStruct.Speed = GPIO_SPEED_FREQ_LOW;
  HAL_GPIO_Init(GPIOF, &GPIO_InitStruct);

  /*Configure GPIO pin : MIC_SDIN0_Pin */
  GPIO_InitStruct.Pin = MIC_SDIN0_Pin;
  GPIO_InitStruct.Mode = GPIO_MODE_AF_PP;
  GPIO_InitStruct.Pull = GPIO_NOPULL;
  GPIO_InitStruct.Speed = GPIO_SPEED_FREQ_LOW;
  GPIO_InitStruct.Alternate = GPIO_AF6_MDF1;
  HAL_GPIO_Init(MIC_SDIN0_GPIO_Port, &GPIO_InitStruct);

  /* EXTI interrupt init*/
  HAL_NVIC_SetPriority(EXTI13_IRQn, 0, 0);
  HAL_NVIC_EnableIRQ(EXTI13_IRQn);

}

void Error_Handler(void)
{
  __disable_irq();
  while (1)
  {
  }
}
